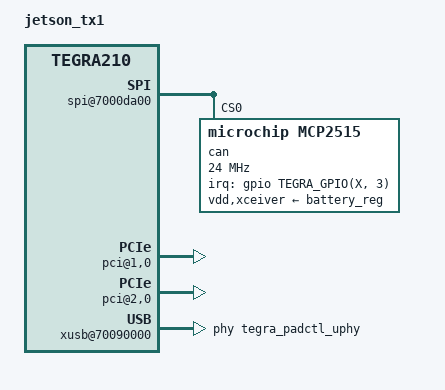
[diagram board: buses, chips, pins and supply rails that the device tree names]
/*
 * arch/arm64/boot/dts/tegra210-tx1-cti-VPG003-IMX274-3CAM.dts
 *
 * Copyright (c) 2016, NVIDIA CORPORATION.  All rights reserved.
 *
 * This program is free software; you can redistribute it and/or modify
 * it under the terms of the GNU General Public License as published by
 * the Free Software Foundation; version 2 of the License.
 *
 * This program is distributed in the hope that it will be useful, but WITHOUT
 * ANY WARRANTY; without even the implied warranty of MERCHANTABILITY or
 * FITNESS FOR A PARTICULAR PURPOSE.  See the GNU General Public License for
 * more details.
 *
 */

#include "tegra210-tx1-cti-base.dts"
#include "jetson-platforms/tegra210-tx1-cti-camera-VPG003-IMX274-3CAM.dtsi"

/ {
	model = "jetson_tx1";
	compatible = "nvidia,jetson-cv", "nvidia,tegra210";
	nvidia,dtsfilename = "tegra210-tx1-cti-VPG003-IMX274-3CAM.dts";

	#address-cells = <2>;
	#size-cells = <2>;

	chosen {
		bootloader {
			nvidia,skip-display-init;
		};
	};

	host1x {
		dc@54200000 {
			status = "disabled";
		};

		dsi {
			status = "disabled";
			panel-a-wuxga-8-0 {
				status = "disabled";
			};
			panel-s-wqxga-10-1 {
				status = "disabled";
			};
		};

		sor {
			panel-s-edp-uhdtv-15-6 {
				status = "disabled";
			};
			prod-settings {
				status = "disabled";
			};
		};
	};

	i2c@7000c400 {
		lp8557-backlight-a-wuxga-8-0@2c {
			status = "disabled";
		};
	};

	backlight {
		status = "disabled";
		panel-a-wuxga-8-0-bl {
			status = "disabled";
		};
		panel-s-edp-uhdtv-15-6-bl {
			status = "disabled";
		};
	};

	sor {
		status = "disabled";
		prod-settings {
			status = "disabled";
		};
		panel-s-edp-uhdtv-15-6 {
			smartdimmer {
				status = "disabled";
			};
		};
	};
	
	/*spi@7000d400 {
		status = "okay";
		spidev@0 {
			status = "okay";
			compatible = "spidev";
			reg = <0>;
			spi-max-frequency=<12000000>;
		};  
    };*/
	
	/*spi@7000d600 {
		status = "okay";
		spidev@0 {
			status = "okay";
			compatible = "spidev";
			reg = <0>;
			spi-max-frequency=<12000000>;
		};  
    };*/
	
	/*spi@7000d800 {
		status = "okay";
		spidev@0 {
			status = "okay";
			compatible = "spidev";
			reg = <0>;
			spi-max-frequency=<12000000>;
		};  
    };*/
	
	
	spi@7000da00 {
		status = "okay";
		can@0 {
            status = "okay";
            compatible = "microchip,mcp2515";
            reg = <0>;	/* spi chip select 0 */
            clocks = <&tegra_car TEGRA210_CLK_CLK_OUT_2>;
            interrupt-parent = <&gpio>;
                /* the first cell defines the
                    index of the interrupt within the controller, while the second cell is used
                    to specify any of the following flags:
                    - bits[3:0] trigger type and level flags
                    1 = low-to-high edge triggered
                    2 = high-to-low edge triggered
                    4 = active high level-sensitive
                    8 = active low level-sensitive
                */
			interrupts = <TEGRA_GPIO(X, 3) 0x01>; /* GPIO_PX3/GPIO8/ALS_PROX_INT */
			vdd-supply = <&battery_reg>;
			xceiver-supply = <&battery_reg>;
			spi-max-frequency=<24000000>;
		};
    };
	
	pcie-controller@1003000 {
        pci@1,0 {
            nvidia,num-lanes = <4>;
            status = "okay";
        };

        pci@2,0 {
            nvidia,num-lanes = <0>;
            status = "disabled";
        };
		
		 pci@2,0 {
            nvidia,num-lanes = <1>;
            status = "okay";
        };
    };

	
		
	pinctrl@7009f000 {
		status = "okay";
		pinctrl-0 = <&tegra_padctl_uphy_pinmux_default>;
		pinctrl-names = "default";
		tegra_padctl_uphy_pinmux_default: pinmux {
			usb2-test {
				nvidia,lanes = "otg-3";
				nvidia,function = "xusb";
				nvidia,port-cap =
				<TEGRA_PADCTL_PORT_HOST_ONLY>;
			};
			usb2-micro-AB-xusb {
				nvidia,lanes = "otg-0";
				nvidia,function = "xusb";
				nvidia,port-cap =
					<TEGRA_PADCTL_PORT_OTG_CAP>;
			};
			usb3-for-dev-mode {
                nvidia,lanes = "uphy-lane-0";
                nvidia,function = "usb3";
                nvidia,usb3-port = <2>;
                nvidia,usb2-map = <0>;
                nvidia,port-cap =
                    <TEGRA_PADCTL_PORT_HOST_ONLY>;
            };
			usb2-std-A-port0 {
				 nvidia,lanes = "otg-1";
				 nvidia,function = "xusb";
				 nvidia,port-cap =
					<TEGRA_PADCTL_PORT_HOST_ONLY>;
			};
			usb3-std-A-port0 {
				 nvidia,lanes = "uphy-lane-5";		/* USB_SS0 */
				 nvidia,function = "usb3";
				 nvidia,usb3-port = <1>;
				 nvidia,usb2-map = <2>;
				 nvidia,port-cap =
					<TEGRA_PADCTL_PORT_HOST_ONLY>;
			};
			usb2-eth {
				 nvidia,lanes = "otg-2";
				 nvidia,function = "xusb";
				 nvidia,port-cap =
					<TEGRA_PADCTL_PORT_HOST_ONLY>;
			};
			usb3-eth {
                 nvidia,lanes = "uphy-lane-6";
                 nvidia,function = "usb3";
                 nvidia,usb3-port = <0>;
                 nvidia,usb2-map = <1>;
                 nvidia,port-cap =
                        <TEGRA_PADCTL_PORT_HOST_ONLY>;
            };
			hsic {
				 nvidia,lanes = "hsic-0";
				 nvidia,function = "hsic";
			};
			pcie {
				 nvidia,lanes =	"uphy-lane-1", "uphy-lane-2",
								"uphy-lane-3", "uphy-lane-4";
				 nvidia,function = "pcie";
				 nvidia,pcie-controller = <0>;
				 nvidia,pcie-lane-select =
					<TEGRA_PADCTL_PCIE_LANE_X4>;
			};
			/delete-node/pcie-m2;
			sata {
				 nvidia,lanes = "uphy-lane-7";
				 nvidia,function = "sata";
			};
		};
	};

	xusb@70090000 {
		status = "okay";
		extcon-cables = <&vbus_gpio_extcon 1>;
		extcon-cable-names = "id";
		#extcon-cells = <1>;
		phys =	<&tegra_padctl_uphy TEGRA_PADCTL_UPHY_UTMI_P(3)>,	
			<&tegra_padctl_uphy TEGRA_PADCTL_UPHY_USB3_P(2)>,
			<&tegra_padctl_uphy TEGRA_PADCTL_UPHY_UTMI_P(2)>,
			<&tegra_padctl_uphy TEGRA_PADCTL_UPHY_USB3_P(1)>,
			<&tegra_padctl_uphy TEGRA_PADCTL_UPHY_UTMI_P(1)>,
			<&tegra_padctl_uphy TEGRA_PADCTL_UPHY_USB3_P(0)>,
			<&tegra_padctl_uphy TEGRA_PADCTL_UPHY_UTMI_P(0)>;
		phy-names = "utmi-3", "usb3-2", "utmi-2", "usb3-1", "utmi-1", "usb3-0", "utmi-0";
		nvidia,pmc-wakeup =
			<&tegra_pmc
				PMC_WAKE_TYPE_EVENT 41 PMC_TRIGGER_TYPE_HIGH>,
			<&tegra_pmc
				PMC_WAKE_TYPE_EVENT 44 PMC_TRIGGER_TYPE_HIGH>;
	};
	
	
};

#include <t210-common-overrides/tegra210-power-dvfs-override-ucm2c.dtsi>

